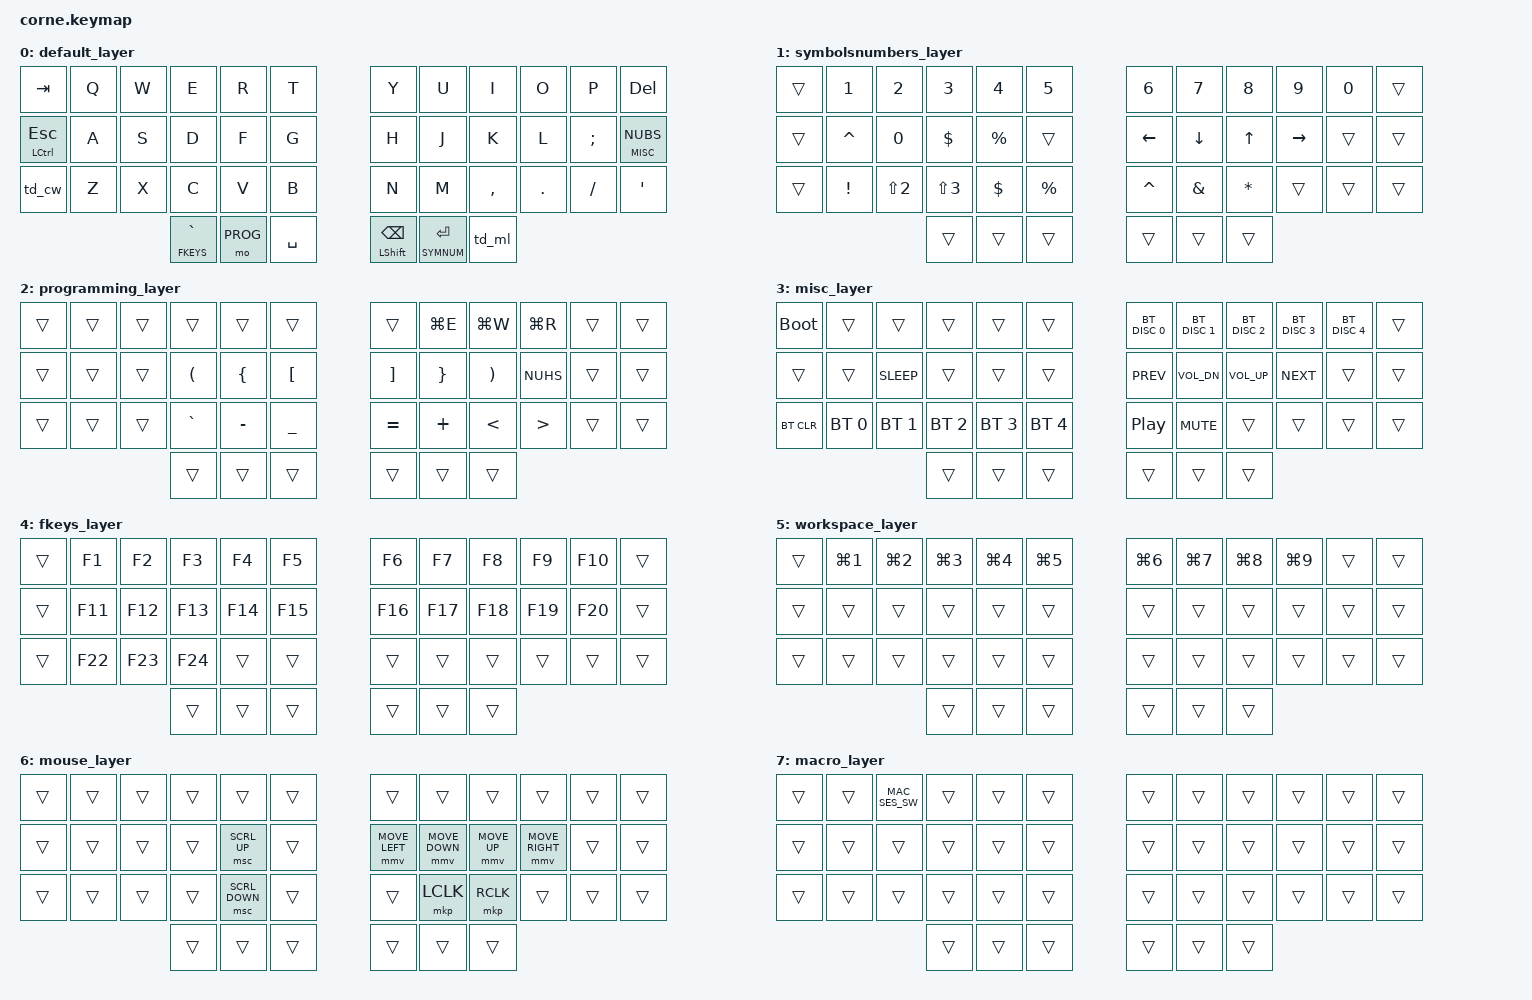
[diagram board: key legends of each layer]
/*
 * Copyright (c) 2020 The ZMK Contributors
 *
 * SPDX-License-Identifier: MIT
 */

#include <behaviors.dtsi>
#include <dt-bindings/zmk/keys.h>
#include <dt-bindings/zmk/bt.h>
#include <dt-bindings/zmk/mouse.h>

#define DEFAULT     0
#define SYMNUM      1
#define PROG        2
#define MISC        3
#define FKEYS       4
#define WORKSPACES  5
#define MOUSE       6
#define MACRO       7

&mt {
  tapping-term-ms = <175>;
};

&caps_word {
  continue-list = <SPACE UNDERSCORE MINUS RETURN>;
};

/ {
  macros {
    MAC_SES_SW: zellij_switch_workspace {
        compatible = "zmk,behavior-macro";
        #binding-cells = <0>;
        bindings = <&macro_press &kp LCTRL>
                  , <&macro_tap &kp G &kp O>
                  , <&macro_release &kp LCTRL>
                  , <&macro_tap &kp W &to DEFAULT>
                  , <&macro_press &kp LCTRL>
                  , <&macro_tap &kp G>
                  , <&macro_release &kp LCTRL>
                  ;
    };
  };

  combos {
    compatible = "zmk,combos";

    combo_alt {
      timeout-ms = <50>;
      key-positions = <13 15>;
      bindings = <&kp LALT>;
    };

    combo_ws_change {
      timeout-ms = <50>;
      key-positions = <16 19>;
      bindings = <&sl WORKSPACES>;
    };

    combo_macro_layer {
      timeout-ms = <50>;
      key-positions = <14 16>;
      bindings = <&to MACRO>;
    };

    combo_default_layer {
      timeout-ms = <50>;
      key-positions = <18 20>;
      bindings = <&to DEFAULT>;
    };
  };

  behaviors {
    td_cw: toggle_caps_word {
      compatible = "zmk,behavior-tap-dance";
      #binding-cells = <0>;
      tapping-term-ms = <175>;
      bindings = <&kp LSHFT>, <&caps_word>;
    };

    td_ml: toggle_mouse_layer {
      compatible = "zmk,behavior-tap-dance";
      #binding-cells = <0>;
      tapping-term-ms = <175>;
      bindings = <&kp LGUI>, <&sl MOUSE>;
    };
  };

        keymap {
                compatible = "zmk,keymap";

// --- BASE LAYER
                default_layer {
                        bindings = <
   &kp TAB        &kp Q &kp W &kp E &kp R &kp T    &kp Y &kp U  &kp I     &kp O   &kp P    &kp DEL
   &mt LCTRL ESC  &kp A &kp S &kp D &kp F &kp G    &kp H &kp J  &kp K     &kp L   &kp SEMI &lt MISC NUBS
   &td_cw           &kp Z &kp X &kp C &kp V &kp B    &kp N &kp M  &kp COMMA &kp DOT &kp FSLH &kp APOS
                        &lt FKEYS GRAVE &mo PROG &kp SPACE   &mt LSHFT BSPC &lt SYMNUM RET &td_ml
                        >;
                };

// --- SYMBOLS AND NUMBERS
                symbolsnumbers_layer {
                        bindings = <

   &trans &kp N1    &kp N2     &kp N3      &kp N4    &kp N5       &kp N6    &kp N7   &kp N8   &kp N9    &kp N0 &trans
   &trans &kp CARET &kp N0     &kp DLLR    &kp PRCNT &trans       &kp LEFT  &kp DOWN &kp UP   &kp RIGHT &trans &trans
   &trans &kp EXCL  &kp LS(N2) &kp LS(N3)  &kp DLLR  &kp PRCNT    &kp CARET &kp AMPS &kp STAR &trans    &trans &trans
                                        &trans &trans &trans       &trans &trans &trans
                        >;
                };

// --- PROGRAMMING
                programming_layer {
                        bindings = <
   &trans &trans &trans &trans    &trans    &trans       &trans           &kp LG(E) &kp LG(W) &kp LG(R) &trans &trans
   &trans &trans &trans &kp LPAR  &kp LBRC  &kp LBKT     &kp RBKT         &kp RBRC  &kp RPAR  &kp NUHS  &trans &trans
   &trans &trans &trans &kp GRAVE &kp MINUS &kp UNDER    &kp EQUAL        &kp PLUS  &kp LT    &kp GT    &trans &trans
                                          &trans   &trans   &trans        &trans   &trans    &trans
                        >;
                };

// --- MISC
                misc_layer {
                        bindings = <
   &bootloader  &trans        &trans        &trans        &trans        &trans              &bt BT_DISC 0   &bt BT_DISC 1   &bt BT_DISC 2   &bt BT_DISC 3   &bt BT_DISC 4 &trans
   &trans       &trans        &kp C_SLEEP   &trans        &trans        &trans              &kp C_PREV      &kp C_VOL_DN    &kp C_VOL_UP    &kp C_NEXT      &trans        &trans
   &bt BT_CLR   &bt BT_SEL 0  &bt BT_SEL 1  &bt BT_SEL 2  &bt BT_SEL 3  &bt BT_SEL 4        &kp C_PP        &kp C_MUTE      &trans          &trans          &trans        &trans
                                                            &trans   &trans   &trans        &trans   &trans    &trans
                        >;
                };

// --- FKEYS
                fkeys_layer {
                        bindings = <
   &trans &kp F1  &kp F2  &kp F3  &kp F4  &kp F5        &kp F6  &kp F7  &kp F8  &kp F9  &kp F10 &trans
   &trans &kp F11 &kp F12 &kp F13 &kp F14 &kp F15       &kp F16 &kp F17 &kp F18 &kp F19 &kp F20 &trans
   &trans &kp F22 &kp F23 &kp F24 &trans  &trans        &trans  &trans  &trans  &trans  &trans  &trans
                         &trans   &trans   &trans       &trans   &trans    &trans
                        >;
                };

// --- WORKSPACE SWITCHING
                workspace_layer {
                        bindings = <
   &trans &kp LG(N1)  &kp LG(N2)  &kp LG(N3)  &kp LG(N4)  &kp LG(N5)      &kp LG(N6)  &kp LG(N7)  &kp LG(N8)  &kp LG(N9)  &trans &trans
   &trans &trans      &trans      &trans      &trans      &trans          &trans      &trans      &trans      &trans      &trans &trans
   &trans &trans      &trans      &trans      &trans      &trans          &trans      &trans      &trans      &trans      &trans &trans
                                        &trans   &trans   &trans          &trans   &trans    &trans
                        >;
                };

// --- MOUSE
                mouse_layer {
                        bindings = <
   &trans &trans &trans &trans &trans &trans   &trans                  &trans         &trans      &trans           &trans &trans
   &trans &trans &trans &trans &msc SCRL_UP    &trans   &mmv MOVE_LEFT &mmv MOVE_DOWN &mmv MOVE_UP &mmv MOVE_RIGHT &trans &trans
   &trans &trans &trans &trans &msc SCRL_DOWN  &trans   &trans         &mkp LCLK      &mkp RCLK    &trans          &trans &trans
                    &trans   &trans   &trans   &trans   &trans         &trans
                        >;
                };

 // --- MACRO
                macro_layer {
                        bindings = <
   &trans &trans &MAC_SES_SW &trans &trans &trans   &trans &trans &trans &trans &trans &trans
   &trans &trans &trans &trans &trans &trans   &trans &trans &trans &trans &trans &trans
   &trans &trans &trans &trans &trans &trans   &trans &trans &trans &trans &trans &trans
                    &trans   &trans   &trans   &trans   &trans    &trans
                        >;
                };

// --- TEMPLATE
//                template_layer {
//                        bindings = <
//   &trans &trans &trans &trans &trans &trans   &trans &trans &trans &trans &trans &trans
//   &trans &trans &trans &trans &trans &trans   &trans &trans &trans &trans &trans &trans
//   &trans &trans &trans &trans &trans &trans   &trans &trans &trans &trans &trans &trans
//                    &trans   &trans   &trans   &trans   &trans    &trans
//                        >;
//                };
        };
};
